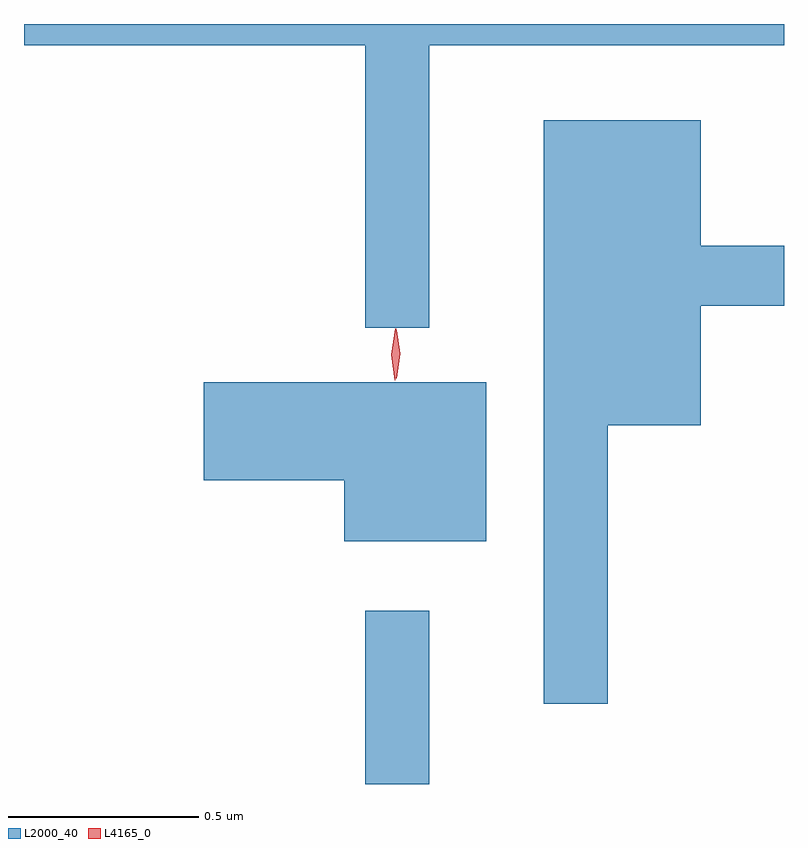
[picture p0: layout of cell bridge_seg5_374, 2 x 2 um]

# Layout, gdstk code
import gdstk
lib = gdstk.Library(unit=1e-6, precision=1e-09)
def R(c, l, rs):  # rectangles x0, y0, x1, y1
    for r in rs: c.add(gdstk.rectangle(r[:2], r[2:], *l))
def P(c, l, *ps):  # polygons
    for p in ps: c.add(gdstk.Polygon(p, *l))
L2000_40 = (2000, 40)
L4165_0 = (4165, 0)

bridge_seg5_374 = lib.new_cell('bridge_seg5_374')
R(bridge_seg5_374, L2000_40, [(668.971,1419.332,669.139,1419.788)])
P(bridge_seg5_374, L2000_40, [(669.139,1421.276),(670.073,1421.276),(670.073,1421.332),(668.073,1421.332),(668.073,1421.276),(668.971,1421.276),(668.971,1420.533),(669.139,1420.533)],
  [(669.609,1420.276),(669.854,1420.276),(669.854,1420.591),(670.073,1420.591),(670.073,1420.749),(669.854,1420.749),(669.854,1421.079),(669.441,1421.079),(669.441,1419.543),(669.609,1419.543)],
  [(669.289,1420.389),(668.546,1420.389),(668.546,1420.131),(668.916,1420.131),(668.916,1419.971),(669.289,1419.971)])
P(bridge_seg5_374, L4165_0, [(669.053,1420.4),(669.053,1420.4),(669.043,1420.464),(669.053,1420.526),(669.053,1420.527),(669.054,1420.526),(669.063,1420.464),(669.054,1420.4)],
  [(669.049,1420.394),(669.049,1420.394),(669.04,1420.462),(669.05,1420.53),(669.051,1420.53),(669.052,1420.53),(669.06,1420.462),(669.05,1420.394)])

lib.write_gds('bridge_seg5_374.gds')
